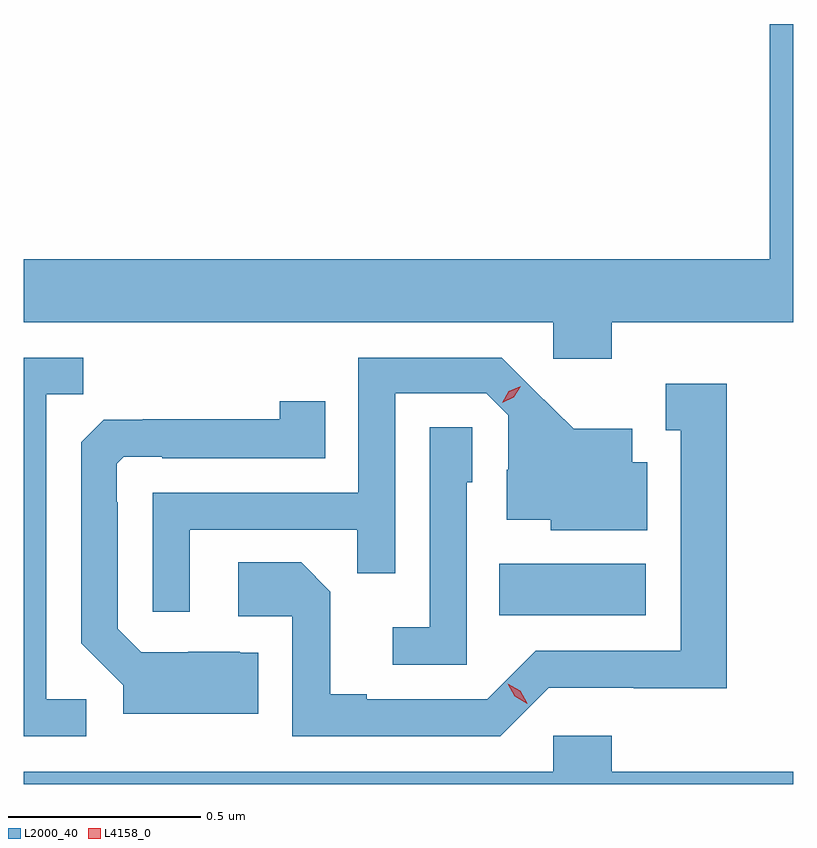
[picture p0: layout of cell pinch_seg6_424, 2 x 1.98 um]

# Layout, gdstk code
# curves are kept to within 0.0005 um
import gdstk
lib = gdstk.Library(unit=1e-6, precision=1e-09)
def R(c, l, rs):  # rectangles x0, y0, x1, y1
    for r in rs: c.add(gdstk.rectangle(r[:2], r[2:], *l))
def P(c, l, *ps):  # polygons
    for p in ps: c.add(gdstk.Polygon(p, *l))
L2000_40 = (2000, 40)
L4158_0 = (4158, 0)

pinch_seg6_424 = lib.new_cell('pinch_seg6_424')
R(pinch_seg6_424, L2000_40, [(658.402,915.938,658.783,916.072)])
P(pinch_seg6_424, L2000_40, [(658.694,916.7),(659.166,916.7),(659.166,917.475),(659.105,917.475),(659.105,916.864),(657.166,916.864),(657.166,916.7),(658.542,916.7),(658.542,916.605),(658.694,916.605)],
  [(657.597,916.161),(658.033,916.161),(658.033,916.048),(658.131,916.048),(658.131,916.515),(658.368,916.515),(658.425,916.458),(658.425,916.316),(658.421,916.316),(658.421,916.187),(658.536,916.187),(658.536,916.16),(658.786,916.16),(658.786,916.336),(658.747,916.336),(658.747,916.423),(658.595,916.423),(658.408,916.608),(658.035,916.608),(658.035,916.257),(657.501,916.257),(657.501,915.948),(657.597,915.948)],
  [(657.328,915.72),(657.225,915.72),(657.225,916.513),(657.321,916.513),(657.321,916.608),(657.166,916.608),(657.166,915.624),(657.328,915.624)],
  [(658.53,915.75),(658.752,915.75),(658.752,915.749),(658.993,915.749),(658.993,916.54),(658.835,916.54),(658.835,916.419),(658.874,916.419),(658.874,915.846),(658.497,915.846),(658.371,915.72),(658.057,915.72),(658.057,915.733),(657.963,915.733),(657.963,916),(657.887,916.076),(657.723,916.076),(657.723,915.936),(657.864,915.936),(657.864,915.624),(658.404,915.624)],
  [(657.775,915.841),(657.731,915.841),(657.728,915.844),(657.594,915.844),(657.594,915.843),(657.471,915.843),(657.411,915.903),(657.411,916.232),(657.408,916.232),(657.408,916.332),(657.426,916.35),(657.526,916.35),(657.526,916.347),(657.95,916.347),(657.95,916.495),(657.832,916.495),(657.832,916.448),(657.475,916.448),(657.475,916.447),(657.374,916.447),(657.315,916.388),(657.315,915.866),(657.425,915.756),(657.425,915.683),(657.775,915.683)],
  [(658.317,916.284),(658.332,916.284),(658.332,916.427),(658.221,916.427),(658.221,915.907),(658.125,915.907),(658.125,915.81),(658.317,915.81)],
  [(659.166,915.532),(658.694,915.532),(658.694,915.625),(658.542,915.625),(658.542,915.532),(657.166,915.532),(657.166,915.5),(659.166,915.5)])
P(pinch_seg6_424, L4158_0, [(658.475,915.709),(658.442,915.728),(658.424,915.76),(658.424,915.76),(658.424,915.76),(658.457,915.742),(658.475,915.71),(658.475,915.709)],
  [(658.409,916.491),(658.409,916.491),(658.427,916.52),(658.458,916.534),(658.458,916.534),(658.458,916.534),(658.44,916.505),(658.409,916.491)])

lib.write_gds('pinch_seg6_424.gds')
